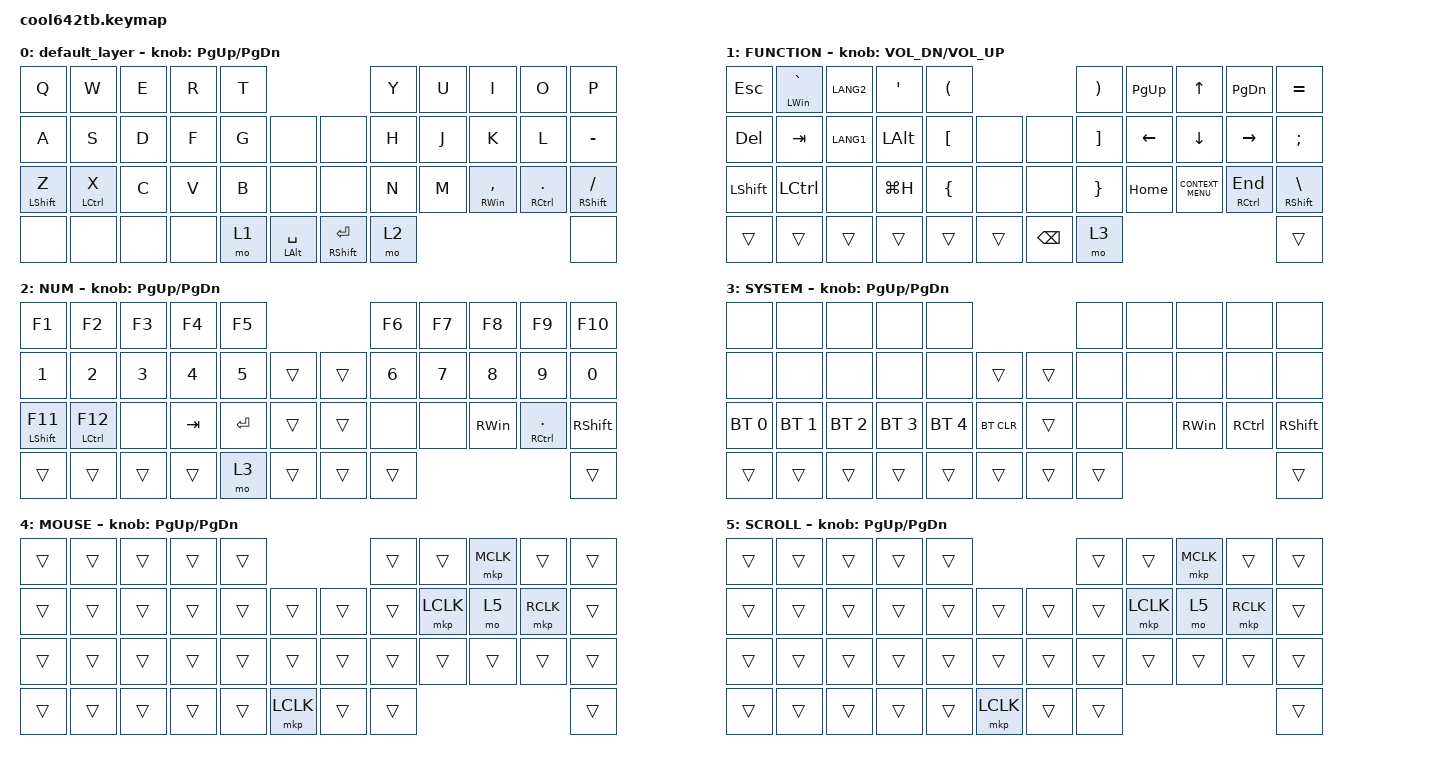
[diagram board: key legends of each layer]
#include <behaviors.dtsi>
#include <dt-bindings/zmk/bt.h>
#include <dt-bindings/zmk/keys.h>
#include <dt-bindings/zmk/pointing.h>

&mt {
    flavor = "hold-preferred";
    quick-tap-ms = <0>;
    tapping-term-ms = <150>;
};

/ {
    combos {
        compatible = "zmk,combos";
    };

    macros {
        /omit-if-no-ref/ to_layer_0: to_layer_0 {
            compatible = "zmk,behavior-macro-one-param";
            #binding-cells = <1>;
            bindings = <&to 0 &macro_param_1to1 &kp MACRO_PLACEHOLDER>;
            label = "TO_LAYER_0";
        };
        
        /omit-if-no-ref/ ret_kp: ret_kp {
            compatible = "zmk,behavior-macro-one-param";
            #binding-cells = <1>;
            bindings =
                <&to 0 &macro_param_1to1>,
                <&macro_press>,
                <&kp MACRO_PLACEHOLDER>,
                <&macro_pause_for_release>,
                <&macro_param_1to1>,
                <&macro_release>,
                <&kp MACRO_PLACEHOLDER>;
            label = "RET_KP";
        };
    };

    behaviors {
        /omit-if-no-ref/ lt_to_layer_0: lt_to_layer_0 {
            compatible = "zmk,behavior-hold-tap";
            label = "LAYER_TAP_TO_0";
            bindings = <&mo>, <&to_layer_0>;

            #binding-cells = <2>;
            tapping-term-ms = <200>;
        };
    };

    keymap {
        compatible = "zmk,keymap";

        default_layer {
            bindings = <
&kp Q             &kp W        &kp E  &kp R  &kp T                                             &kp Y  &kp U  &kp I                &kp O             &kp P
&kp A             &kp S        &kp D  &kp F  &kp G  &none               &none                  &kp H  &kp J  &kp K                &kp L             &kp MINUS
&mt LEFT_SHIFT Z  &mt LCTRL X  &kp C  &kp V  &kp B  &none               &none                  &kp N  &kp M  &mt RIGHT_WIN COMMA  &mt RCTRL PERIOD  &mt RIGHT_SHIFT SLASH
&none             &none        &none  &none  &mo 1  &mt LEFT_ALT SPACE  &mt RIGHT_SHIFT ENTER  &mo 2                                                &none
            >;

            sensor-bindings = <&inc_dec_kp PG_UP PAGE_DOWN>;
        };

        FUNCTION {
            bindings = <
&kp ESC         &mt LEFT_WIN GRAVE  &kp LANG2  &kp SQT       &kp LEFT_PARENTHESIS                         &kp RIGHT_PARENTHESIS  &kp PAGE_UP     &kp UP_ARROW        &kp PAGE_DOWN  &kp EQUAL
&kp DELETE      &kp TAB             &kp LANG1  &kp LEFT_ALT  &kp LEFT_BRACKET      &none   &none          &kp RIGHT_BRACKET      &kp LEFT_ARROW  &kp DOWN_ARROW      &kp RIGHT      &kp SEMICOLON
&kp LEFT_SHIFT  &kp LCTRL           &none      &kp LG(H)     &kp LEFT_BRACE        &none   &none          &kp RIGHT_BRACE        &kp HOME        &kp K_CONTEXT_MENU  &mt RCTRL END  &mt RIGHT_SHIFT BACKSLASH
&trans          &trans              &trans     &trans        &trans                &trans  &kp BACKSPACE  &mo 3                                                                     &trans
            >;

            sensor-bindings = <&inc_dec_kp C_VOL_DN C_VOL_UP>;
        };

        NUM {
            bindings = <
&kp F1              &kp F2         &kp F3  &kp F4   &kp F5                     &kp F6  &kp F7  &kp F8         &kp F9            &kp F10
&kp N1              &kp N2         &kp N3  &kp N4   &kp N5     &trans  &trans  &kp N6  &kp N7  &kp N8         &kp N9            &kp N0
&mt LEFT_SHIFT F11  &mt LCTRL F12  &none   &kp TAB  &kp ENTER  &trans  &trans  &none   &none   &kp RIGHT_WIN  &mt RCTRL PERIOD  &kp RIGHT_SHIFT
&trans              &trans         &trans  &trans   &mo 3      &trans  &trans  &trans                                           &trans
            >;

            sensor-bindings = <&inc_dec_kp PG_UP PAGE_DOWN>;
        };

        SYSTEM {
            bindings = <
&none           &none         &none         &none         &none                             &none   &none  &none          &none      &none
&none           &none         &none         &none         &none         &trans      &trans  &none   &none  &none          &none      &none
&bt BT_SEL 0    &bt BT_SEL 1  &bt BT_SEL 2  &bt BT_SEL 3  &bt BT_SEL 4  &bt BT_CLR  &trans  &none   &none  &kp RIGHT_WIN  &kp RCTRL  &kp RIGHT_SHIFT
&trans          &trans        &trans        &trans        &trans        &trans      &trans  &trans                                   &trans
            >;

            sensor-bindings = <&inc_dec_kp PG_UP PAGE_DOWN>;
        };

        MOUSE {
            bindings = <
&trans  &trans  &trans  &trans  &trans                     &trans  &trans     &mkp MCLK  &trans     &trans
&trans  &trans  &trans  &trans  &trans  &trans     &trans  &trans  &mkp LCLK  &mo 5      &mkp RCLK  &trans
&trans  &trans  &trans  &trans  &trans  &trans     &trans  &trans  &trans     &trans     &trans     &trans
&trans  &trans  &trans  &trans  &trans  &mkp LCLK  &trans  &trans                                   &trans
            >;

            sensor-bindings = <&inc_dec_kp PG_UP PAGE_DOWN>;
        };

        SCROLL {
            bindings = <
&trans  &trans  &trans  &trans  &trans                     &trans  &trans     &mkp MCLK  &trans     &trans
&trans  &trans  &trans  &trans  &trans  &trans     &trans  &trans  &mkp LCLK  &mo 5      &mkp RCLK  &trans
&trans  &trans  &trans  &trans  &trans  &trans     &trans  &trans  &trans     &trans     &trans     &trans
&trans  &trans  &trans  &trans  &trans  &mkp LCLK  &trans  &trans                                   &trans
            >;

            sensor-bindings = <&inc_dec_kp PG_UP PAGE_DOWN>;
        };
    };
};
